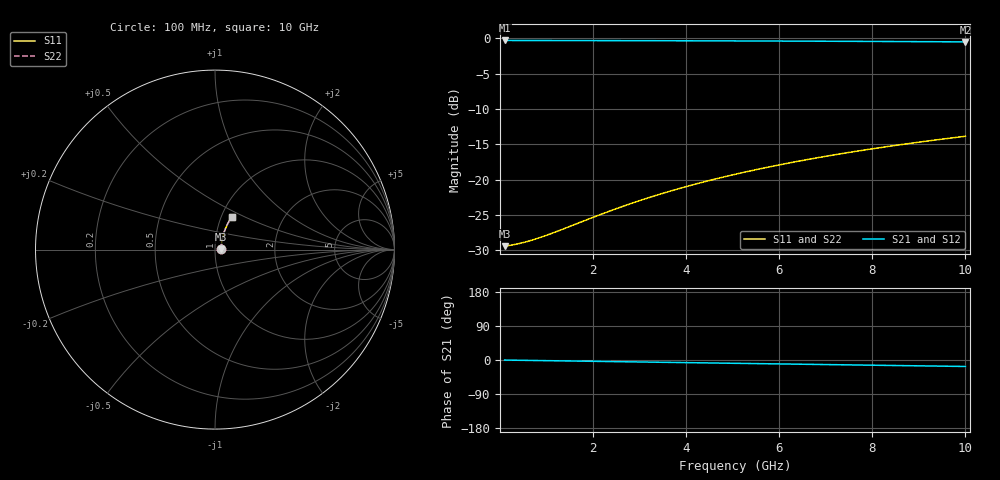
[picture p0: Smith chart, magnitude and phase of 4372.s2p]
# Hz S RI R 50.00
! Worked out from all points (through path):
!   100 points, 100 MHz to 10 GHz, reference 50 ohm
!   highest |S21| = -0.30 dB at 100 MHz (marker M1); lowest = -0.5 dB at 10 GHz (marker M2)
!   group delay of S21, straight-line fit = 4.75 ps
!   lowest |S11| = -29.4 dB at 100 MHz (marker M3), VSWR 1.07, Z = 53.5 + j0.21 ohm
!   |S11| at or under -10 dB: start of sweep to end of sweep
!   |S22| runs from -29.4 to -13.9 dB; largest |S21 - S12| = 0
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1e8  0.0337 0.00196  0.9663 -0.00292  0.9663 -0.00292  0.0337 0.00196
3e8  0.0342 0.00587  0.9658 -0.00877  0.9658 -0.00877  0.0342 0.00587
4e8  0.0343 0.00782  0.9657 -0.0117  0.9657 -0.0117  0.0343 0.00782
6e8  0.0346 0.0117  0.9653 -0.0175  0.9653 -0.0175  0.0346 0.0117
8e8  0.035 0.0156  0.965 -0.0234  0.965 -0.0234  0.035 0.0156
1.2e9  0.0357 0.0234  0.9642 -0.035  0.9642 -0.035  0.0357 0.0234
1.8e9  0.037 0.035  0.9628 -0.0524  0.9628 -0.0524  0.037 0.035
2.2e9  0.0381 0.0427  0.9616 -0.064  0.9616 -0.064  0.0381 0.0427
2.6e9  0.0394 0.0504  0.9603 -0.0756  0.9603 -0.0756  0.0394 0.0504
3e9  0.0408 0.058  0.9587 -0.0871  0.9587 -0.0871  0.0408 0.058
3.4e9  0.0424 0.0656  0.957 -0.0985  0.957 -0.0985  0.0424 0.0656
3.8e9  0.0442 0.0732  0.9551 -0.11  0.9551 -0.11  0.0442 0.0732
4.2e9  0.0462 0.0807  0.953 -0.1213  0.953 -0.1213  0.0462 0.0807
4.6e9  0.0483 0.0881  0.9507 -0.1326  0.9507 -0.1326  0.0483 0.0881
5.1e9  0.0512 0.0973  0.9475 -0.1467  0.9475 -0.1467  0.0512 0.0973
5.5e9  0.0537 0.1046  0.9448 -0.1578  0.9448 -0.1578  0.0537 0.1046
5.9e9  0.0564 0.1118  0.9419 -0.1689  0.9419 -0.1689  0.0564 0.1118
6.7e9  0.0622 0.126  0.9356 -0.1908  0.9356 -0.1908  0.0622 0.126
7.5e9  0.0687 0.1398  0.9286 -0.2124  0.9286 -0.2124  0.0687 0.1398
8.4e9  0.0767 0.1548  0.9199 -0.2362  0.9199 -0.2362  0.0767 0.1548
9.2e9  0.0844 0.1678  0.9115 -0.257  0.9115 -0.257  0.0844 0.1678
1e10  0.0927 0.1803  0.9024 -0.2773  0.9024 -0.2773  0.0927 0.1803
